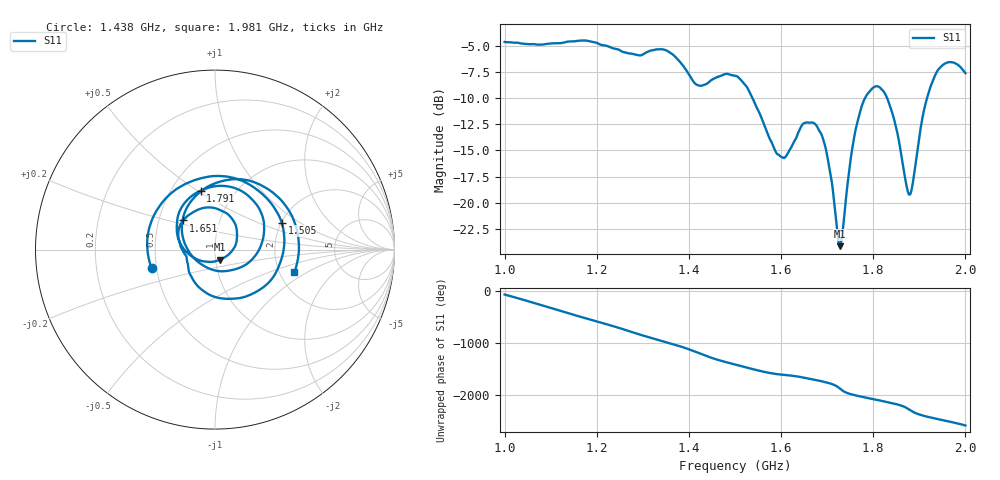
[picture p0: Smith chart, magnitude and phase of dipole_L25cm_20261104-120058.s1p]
! Dipole length 25 cm, measured 20261104-120058
# GHZ S RI R 50.000000000000
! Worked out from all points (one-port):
!   1001 points, 1 GHz to 2 GHz, reference 50 ohm
!   lowest |S11| = -24.1 dB at 1.727 GHz (marker M1), VSWR 1.13, Z = 52.5 - j5.88 ohm
!   |S11| at or under -10 dB: 1.538 GHz to 1.782 GHz (244.3 MHz wide, 14.7 % of centre); 1.83 GHz to 1.917 GHz (86.57 MHz wide, 4.62 % of centre)
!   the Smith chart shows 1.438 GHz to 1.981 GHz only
!   S11 on the Smith chart (normalised r, x): 1.438 GHz: 0.47, -0.11; 1.505 GHz: 2.02, +0.71; 1.651 GHz: 0.67, +0.23; 1.791 GHz: 0.70, +0.52; 1.981 GHz: 2.41, -0.78
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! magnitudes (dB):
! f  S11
! 1 GHz  -4.6
! 1.125 GHz  -4.7
! 1.25 GHz  -5.4
! 1.375 GHz  -6.3
! 1.414 GHz  -8.6
! 1.438 GHz  -8.7
! 1.5 GHz  -7.9
! 1.505 GHz  -7.9
! 1.592 GHz  -15.4
! 1.625 GHz  -14.4
! 1.651 GHz  -12.4
! 1.692 GHz  -14.0
! 1.707 GHz  -17.2
! 1.727 GHz  -24.1
! 1.733 GHz  -22.9
! 1.75 GHz  -16.2
! 1.769 GHz  -11.7
! 1.791 GHz  -9.4
! 1.811 GHz  -8.9
! 1.831 GHz  -10.1
! 1.85 GHz  -12.9
! 1.875 GHz  -18.9
! 1.884 GHz  -18.6
! 1.908 GHz  -11.6
! 1.928 GHz  -8.5
! 1.952 GHz  -6.8
! 1.981 GHz  -6.8
! 2 GHz  -7.6
